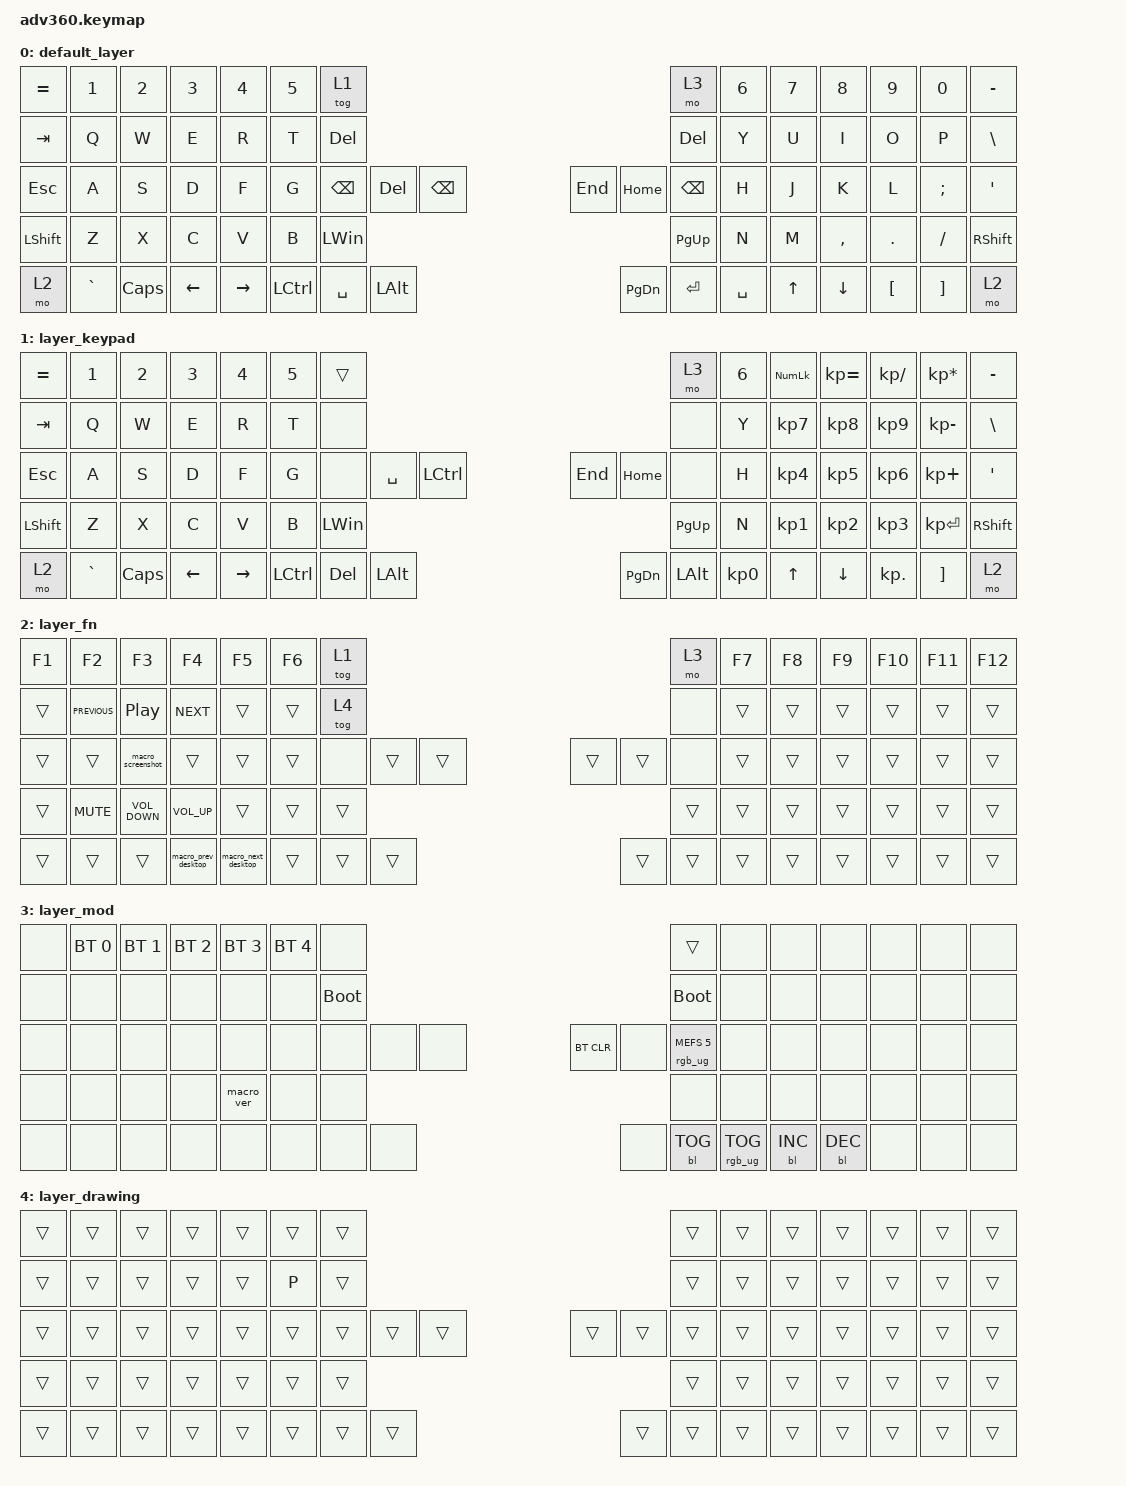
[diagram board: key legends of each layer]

/*
 * Copyright (c) 2020 The ZMK Contributors
 *
 * SPDX-License-Identifier: MIT
 */


/* THIS FILE WAS GENERATED!
 *
 * This file was generated automatically. You may or may not want to
 * edit it directly.
 */

#include <behaviors.dtsi>
#include <dt-bindings/zmk/keys.h>
#include <dt-bindings/zmk/bt.h>
#include <dt-bindings/zmk/rgb.h>
#include <dt-bindings/zmk/backlight.h>

/ {
  behaviors {
    #include "macros.dtsi"
    #include "version.dtsi"

    hm: homerow_mods {
        compatible = "zmk,behavior-hold-tap";
        label = "HOMEROW_MODS";
        #binding-cells = <2>;
        tapping-term-ms = <200>;
        quick_tap_ms = <175>;
        flavor = "tap-preferred";
        bindings = <&kp>, <&kp>;
    };
  };

    keymap {
        compatible = "zmk,keymap";


        default_layer {
            bindings = <
 &kp EQUAL     &kp N1    &kp N2    &kp N3     &kp N4  &kp N5                   &tog 1                                                                               &mo 3  &kp N6  &kp N7     &kp N8    &kp N9    &kp N0  &kp MINUS
   &kp TAB      &kp Q     &kp W     &kp E      &kp R   &kp T               &kp DELETE                                                                          &kp DELETE   &kp Y   &kp U      &kp I     &kp O     &kp P   &kp BSLH
   &kp ESC      &kp A     &kp S     &kp D      &kp F   &kp G            &kp BACKSPACE  &kp DELETE  &kp BACKSPACE                        &kp END   &kp HOME  &kp BACKSPACE   &kp H   &kp J      &kp K     &kp L  &kp SEMI    &kp SQT
 &kp LSHFT      &kp Z     &kp X     &kp C      &kp V   &kp B                                        &kp LEFT_WIN                      &kp PG_UP                             &kp N   &kp M  &kp COMMA   &kp DOT  &kp FSLH  &kp RSHFT
     &mo 2  &kp GRAVE  &kp CAPS  &kp LEFT  &kp RIGHT                        &kp LCTRL   &kp SPACE   &kp LEFT_ALT                  &kp PAGE_DOWN  &kp ENTER      &kp SPACE          &kp UP   &kp DOWN  &kp LBKT  &kp RBKT      &mo 2
            >;
        };

        layer_keypad {
            bindings = <
 &kp EQUAL     &kp N1    &kp N2    &kp N3     &kp N4  &kp N5                      &trans                                                                        &mo 3  &kp N6  &kp KP_NUM  &kp KP_EQUAL  &kp KP_DIVIDE  &kp KP_MULTIPLY  &kp MINUS
   &kp TAB      &kp Q     &kp W     &kp E      &kp R   &kp T                       &none                                                                        &none   &kp Y   &kp KP_N7     &kp KP_N8      &kp KP_N9     &kp KP_MINUS   &kp BSLH
   &kp ESC      &kp A     &kp S     &kp D      &kp F   &kp G                       &none  &kp SPACE     &kp LCTRL                    &kp END      &kp HOME      &none   &kp H   &kp KP_N4     &kp KP_N5      &kp KP_N6      &kp KP_PLUS    &kp SQT
 &kp LSHFT      &kp Z     &kp X     &kp C      &kp V   &kp B                                         &kp LEFT_WIN                  &kp PG_UP                            &kp N   &kp KP_N1     &kp KP_N2      &kp KP_N3     &kp KP_ENTER  &kp RSHFT
     &mo 2  &kp GRAVE  &kp CAPS  &kp LEFT  &kp RIGHT                    &kp LEFT_CONTROL    &kp DEL  &kp LEFT_ALT                  &kp PG_DN  &kp LEFT_ALT  &kp KP_N0              &kp UP      &kp DOWN     &kp KP_DOT         &kp RBKT      &mo 2
            >;
        };

        layer_fn {
            bindings = <
 &kp F1          &kp F2             &kp F3               &kp F4               &kp F5  &kp F6            &tog 1                                                   &mo 3  &kp F7  &kp F8  &kp F9  &kp F10  &kp F11  &kp F12
 &trans  &kp C_PREVIOUS   &kp C_PLAY_PAUSE           &kp C_NEXT               &trans  &trans            &tog 4                                                   &none  &trans  &trans  &trans   &trans   &trans   &trans
 &trans          &trans  &macro_screenshot               &trans               &trans  &trans             &none  &trans  &trans                  &trans  &trans   &none  &trans  &trans  &trans   &trans   &trans   &trans
 &trans      &kp C_MUTE  &kp C_VOLUME_DOWN      &kp C_VOLUME_UP               &trans  &trans                            &trans                  &trans                  &trans  &trans  &trans   &trans   &trans   &trans
 &trans          &trans             &trans  &macro_prev_desktop  &macro_next_desktop                    &trans  &trans  &trans                  &trans  &trans  &trans          &trans  &trans   &trans   &trans   &trans
            >;
        };

        layer_mod {
            bindings = <
  &none  &bt BT_SEL 0  &bt BT_SEL 1  &bt BT_SEL 2  &bt BT_SEL 3  &bt BT_SEL 4                  &none                                                                          &trans   &none       &none       &none   &none   &none   &none
  &none         &none         &none         &none         &none         &none            &bootloader                                                                     &bootloader   &none       &none       &none   &none   &none   &none
  &none         &none         &none         &none         &none         &none                  &none   &none   &none                  &bt BT_CLR       &none  &rgb_ug RGB_MEFS_CMD 5   &none       &none       &none   &none   &none   &none
  &none         &none         &none         &none    &macro_ver         &none                                  &none                       &none                                       &none       &none       &none   &none   &none   &none
  &none         &none         &none         &none         &none                                &none   &none   &none                       &none  &bl BL_TOG         &rgb_ug RGB_TOG          &bl BL_INC  &bl BL_DEC   &none   &none   &none
            >;
        };

        layer_drawing {
            bindings = <
 &trans  &trans  &trans  &trans  &trans  &trans            &trans                                                  &trans  &trans  &trans  &trans  &trans  &trans  &trans
 &trans  &trans  &trans  &trans  &trans   &kp P            &trans                                                  &trans  &trans  &trans  &trans  &trans  &trans  &trans
 &trans  &trans  &trans  &trans  &trans  &trans            &trans  &trans  &trans                  &trans  &trans  &trans  &trans  &trans  &trans  &trans  &trans  &trans
 &trans  &trans  &trans  &trans  &trans  &trans                            &trans                  &trans                  &trans  &trans  &trans  &trans  &trans  &trans
 &trans  &trans  &trans  &trans  &trans                    &trans  &trans  &trans                  &trans  &trans  &trans          &trans  &trans  &trans  &trans  &trans
            >;
        };

    };
};
